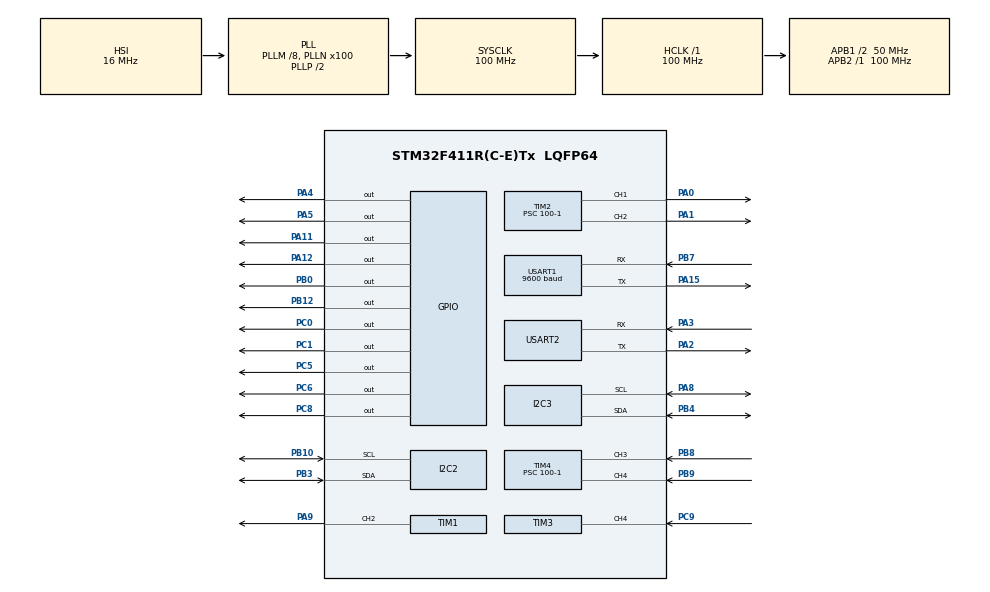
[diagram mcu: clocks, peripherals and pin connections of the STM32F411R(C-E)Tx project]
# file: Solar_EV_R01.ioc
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Mcu.Family=STM32F4
Mcu.Name=STM32F411R(C-E)Tx
Mcu.Package=LQFP64
NVIC.PriorityGroup=NVIC_PRIORITYGROUP_4
NVIC.TIM1_UP_TIM10_IRQn=true\:0\:0\:false\:false\:true\:true\:true\:true
NVIC.TIM3_IRQn=true\:0\:0\:false\:false\:true\:true\:true\:true
NVIC.TIM4_IRQn=true\:0\:0\:false\:false\:true\:true\:true\:true
NVIC.USART1_IRQn=true\:0\:0\:false\:false\:true\:true\:true\:true
NVIC.USART2_IRQn=true\:0\:0\:false\:false\:true\:true\:true\:true
PA0-WKUP.Signal=S_TIM2_CH1_ETR
PA1.Signal=S_TIM2_CH2
PA11.Signal=GPIO_Output
PA12.Signal=GPIO_Output
PA13.Mode=Serial_Wire
PA13.Signal=SYS_JTMS-SWDIO
PA14.Mode=Serial_Wire
PA14.Signal=SYS_JTCK-SWCLK
PA15.Mode=Asynchronous
PA15.Signal=USART1_TX
PA2.Mode=Asynchronous
PA2.Signal=USART2_TX
PA3.Mode=Asynchronous
PA3.Signal=USART2_RX
PA4.Signal=GPIO_Output
PA5.Signal=GPIO_Output
PA8.GPIO_Pu=GPIO_PULLUP
PA8.Mode=I2C
PA8.Signal=I2C3_SCL
PA9.Signal=S_TIM1_CH2
PB0.Signal=GPIO_Output
PB10.GPIO_Pu=GPIO_PULLUP
PB10.Mode=I2C
PB10.Signal=I2C2_SCL
PB12.Signal=GPIO_Output
PB3.GPIO_Pu=GPIO_PULLUP
PB3.Mode=I2C
PB3.Signal=I2C2_SDA
PB4.GPIO_Pu=GPIO_PULLUP
PB4.Mode=I2C
PB4.Signal=I2C3_SDA
PB7.Mode=Asynchronous
PB7.Signal=USART1_RX
PB8.Signal=S_TIM4_CH3
PB9.Signal=S_TIM4_CH4
PC0.Signal=GPIO_Output
PC1.Signal=GPIO_Output
PC5.Signal=GPIO_Output
PC6.Signal=GPIO_Output
PC8.Signal=GPIO_Output
PC9.Signal=S_TIM3_CH4
ProjectManager.HeapSize=0x200
ProjectManager.StackSize=0x400
ProjectManager.TargetToolchain=STM32CubeIDE
RCC.48MHZClocksFreq_Value=50000000
RCC.AHBFreq_Value=100000000
RCC.APB1CLKDivider=RCC_HCLK_DIV2
RCC.APB1Freq_Value=50000000
RCC.APB1TimFreq_Value=100000000
RCC.APB2Freq_Value=100000000
RCC.APB2TimFreq_Value=100000000
RCC.CortexFreq_Value=100000000
RCC.HCLKFreq_Value=100000000
RCC.HSE_VALUE=8000000
RCC.HSI_VALUE=16000000
RCC.LSE_VALUE=32768
RCC.PLLM=8
RCC.PLLN=100
RCC.SYSCLKFreq_VALUE=100000000
RCC.SYSCLKSource=RCC_SYSCLKSOURCE_PLLCLK
RCC.VCOOutputFreq_Value=200000000
SH.S_TIM1_CH2.0=TIM1_CH2,PWM Generation2 CH2
SH.S_TIM2_CH1_ETR.0=TIM2_CH1,PWM Generation1 CH1
SH.S_TIM2_CH2.0=TIM2_CH2,PWM Generation2 CH2
SH.S_TIM3_CH4.0=TIM3_CH4,Input_Capture4_from_TI4
SH.S_TIM4_CH3.0=TIM4_CH3,Input_Capture3_from_TI3
SH.S_TIM4_CH4.0=TIM4_CH4,Input_Capture4_from_TI4
TIM1.Channel-PWM\ Generation2\ CH2=TIM_CHANNEL_2
TIM1.Period=999
TIM1.Prescaler=1
TIM10.Period=999
TIM10.Prescaler=99
TIM11.Prescaler=100-1
TIM2.Channel-PWM\ Generation1\ CH1=TIM_CHANNEL_1
TIM2.Channel-PWM\ Generation2\ CH2=TIM_CHANNEL_2
TIM2.Period=1000-1
TIM2.Prescaler=100-1
TIM3.Channel-Input_Capture4_from_TI4=TIM_CHANNEL_4
TIM3.ICFilter_CH4=4
TIM3.Prescaler=100-1
TIM4.Channel-Input_Capture3_from_TI3=TIM_CHANNEL_3
TIM4.Channel-Input_Capture4_from_TI4=TIM_CHANNEL_4
TIM4.ICFilter_CH3=4
TIM4.Prescaler=100-1
USART1.BaudRate=9600
USART1.VirtualMode=VM_ASYNC
USART2.VirtualMode=VM_ASYNC
VP_TIM10_VS_ClockSourceINT.Mode=Enable_Timer
VP_TIM11_VS_ClockSourceINT.Mode=Enable_Timer
VP_TIM1_VS_ClockSourceINT.Mode=Internal
VP_TIM2_VS_ClockSourceINT.Mode=Internal
board=custom

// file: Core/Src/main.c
/* USER CODE BEGIN Header */
/**
  ******************************************************************************
  * @file           : main.c
  * @brief          : Main program body
  ******************************************************************************
  * @attention
  *
  * Copyright (c) 2026 STMicroelectronics.
  * All rights reserved.
  *
  * This software is licensed under terms that can be found in the LICENSE file
  * in the root directory of this software component.
  * If no LICENSE file comes with this software, it is provided AS-IS.
  *
  ******************************************************************************
  */
/* USER CODE END Header */

#include "main.h"
#include "i2c.h"
#include "tim.h"
#include "usart.h"
#include "gpio.h"

/* USER CODE BEGIN Includes */

#include "car.h"
#include "direction.h"
#include "speed.h"
#include "delay.h"
#include "stdio.h"
//#include "ledbar.h"
#include "ultrasonic.h"
#include "statemachine.h"
#include "ina219.h"
#include "power_control.h"

/* USER CODE END Includes */

/* USER CODE BEGIN PD */

/* 센서 업데이트 / 디버그 출력 주기 */
#define SENSOR_UPDATE_PERIOD_MS   10U
#define DEBUG_PRINT_PERIOD_MS    500U

/* USER CODE END PD */

/* USER CODE BEGIN PM */

#ifdef __GNUC__
#define PUTCHAR_PROTOTYPE int __io_putchar(int ch)
#else
#define PUTCHAR_PROTOTYPE int fputc(int ch, FILE *f)
#endif

PUTCHAR_PROTOTYPE
{
    if (ch == '\n')
    {
        HAL_UART_Transmit(&huart2, (uint8_t*)"\r", 1, 0xFFFF);
    }
    HAL_UART_Transmit(&huart2, (uint8_t*)&ch, 1, 0xFFFF);
    return ch;
}

/* USER CODE END PM */

/* USER CODE BEGIN PV */

INA219_t solar_sensor;      // I2C2
INA219_t battery_sensor;    // I2C3
PowerControl_t p_ctrl;

/* 1ms scheduler flags */
volatile uint8_t g_flag_ctrl_1ms   = 0U;
volatile uint8_t g_flag_sense_10ms = 0U;
volatile uint8_t g_flag_dbg_500ms  = 0U;

/* USER CODE END PV */

void SystemClock_Config(void);
/* USER CODE BEGIN PFP */

static void App_PrintStatus(void);

/* USER CODE END PFP */

/* USER CODE BEGIN 0 */

static void App_PrintStatus(void)
{
    printf("[MODE:%s] "
           "Vin=%.2fV Iin=%.0fmA Pin=%.3fW | "
           "Vbat=%.3fV Ichg=%.0fmA | "
           "Duty=%.3f | Iref=%.3fA Icv=%.3fA Imppt=%.3fA\n",
           PowerControl_ModeString(p_ctrl.mode),
           solar_sensor.voltage_v,
           solar_sensor.current_ma,
           solar_sensor.power_w,
           battery_sensor.voltage_v,
           battery_sensor.current_ma,
           p_ctrl.duty_out,
           p_ctrl.i_ref_last,
           p_ctrl.i_cv_last,
           p_ctrl.mppt_i_ref);
}

/* USER CODE END 0 */

int main(void)
{

  HAL_Init();

  SystemClock_Config();

  MX_GPIO_Init();
  MX_TIM2_Init();
  MX_USART2_UART_Init();
  MX_TIM3_Init();
  MX_TIM4_Init();
  MX_TIM11_Init();
  MX_USART1_UART_Init();
  MX_I2C3_Init();
  MX_I2C2_Init();
  MX_TIM1_Init();
  MX_TIM10_Init();

  /* USER CODE BEGIN 2 */

  /* PWM start */
  HAL_TIM_PWM_Start(&htim1, TIM_CHANNEL_2);
  __HAL_TIM_MOE_ENABLE(&htim1);

  /* base timers */
  HAL_TIM_Base_Start_IT(&htim10);   // 1ms scheduler
  HAL_TIM_Base_Start(&htim11);      // for delay_us if used elsewhere

  /* optional existing project init */
  STMACHINE_Init();

  /* INA219 init */
  INA219_Init(&solar_sensor, &hi2c2, INA219_ADDR_7BIT);
  INA219_Init(&battery_sensor, &hi2c3, INA219_ADDR_7BIT);

  /* Power control init */
  PowerControl_Init(&p_ctrl);

  printf("System start.\n");
  printf("Solar charger control init done.\n");

  /* USER CODE END 2 */

  /* Infinite loop */
  /* USER CODE BEGIN WHILE */
  while (1)
  {
      /* 10ms: sensor update in main loop (not in ISR) */
      if (g_flag_sense_10ms)
      {
          g_flag_sense_10ms = 0U;

          INA219_Update(&solar_sensor);
          INA219_Update(&battery_sensor);

          /* battery side only filtered */
          INA219_BatteryFilterUpdate(&battery_sensor);
      }

      /* 500ms: debug print */
      if (g_flag_dbg_500ms)
      {
          g_flag_dbg_500ms = 0U;
          App_PrintStatus();
      }

      /* other app tasks if needed */
      // SHOW_UART2();
      // ST_MACHINE();

    /* USER CODE END WHILE */

  }
}

void SystemClock_Config(void)
{
  RCC_OscInitTypeDef RCC_OscInitStruct = {0};
  RCC_ClkInitTypeDef RCC_ClkInitStruct = {0};

  __HAL_RCC_PWR_CLK_ENABLE();
  __HAL_PWR_VOLTAGESCALING_CONFIG(PWR_REGULATOR_VOLTAGE_SCALE1);

  RCC_OscInitStruct.OscillatorType = RCC_OSCILLATORTYPE_HSI;
  RCC_OscInitStruct.HSIState = RCC_HSI_ON;
  RCC_OscInitStruct.HSICalibrationValue = RCC_HSICALIBRATION_DEFAULT;
  RCC_OscInitStruct.PLL.PLLState = RCC_PLL_ON;
  RCC_OscInitStruct.PLL.PLLSource = RCC_PLLSOURCE_HSI;
  RCC_OscInitStruct.PLL.PLLM = 8;
  RCC_OscInitStruct.PLL.PLLN = 100;
  RCC_OscInitStruct.PLL.PLLP = RCC_PLLP_DIV2;
  RCC_OscInitStruct.PLL.PLLQ = 4;
  if (HAL_RCC_OscConfig(&RCC_OscInitStruct) != HAL_OK)
  {
    Error_Handler();
  }

  RCC_ClkInitStruct.ClockType = RCC_CLOCKTYPE_HCLK
                              | RCC_CLOCKTYPE_SYSCLK
                              | RCC_CLOCKTYPE_PCLK1
                              | RCC_CLOCKTYPE_PCLK2;
  RCC_ClkInitStruct.SYSCLKSource = RCC_SYSCLKSOURCE_PLLCLK;
  RCC_ClkInitStruct.AHBCLKDivider = RCC_SYSCLK_DIV1;
  RCC_ClkInitStruct.APB1CLKDivider = RCC_HCLK_DIV2;
  RCC_ClkInitStruct.APB2CLKDivider = RCC_HCLK_DIV1;

  if (HAL_RCC_ClockConfig(&RCC_ClkInitStruct, FLASH_LATENCY_3) != HAL_OK)
  {
    Error_Handler();
  }
}

/* USER CODE BEGIN 4 */

void HAL_TIM_PeriodElapsedCallback(TIM_HandleTypeDef *htim)
{
    if (htim->Instance == TIM10)
    {
        static uint16_t cnt_10ms  = 0U;
        static uint16_t cnt_500ms = 0U;

        /* 1ms control task */
        g_flag_ctrl_1ms = 1U;

        /* run control immediately with latest sensor values */
        if (g_flag_ctrl_1ms)
        {
            g_flag_ctrl_1ms = 0U;
            PowerControl_Run(&p_ctrl, &solar_sensor, &battery_sensor);
        }

        /* 10ms sensor flag */
        cnt_10ms++;
        if (cnt_10ms >= SENSOR_UPDATE_PERIOD_MS)
        {
            cnt_10ms = 0U;
            g_flag_sense_10ms = 1U;
        }

        /* 500ms debug flag */
        cnt_500ms++;
        if (cnt_500ms >= DEBUG_PRINT_PERIOD_MS)
        {
            cnt_500ms = 0U;
            g_flag_dbg_500ms = 1U;
        }
    }
}

/* USER CODE END 4 */

void Error_Handler(void)
{
  __disable_irq();
  while (1)
  {
  }
}
